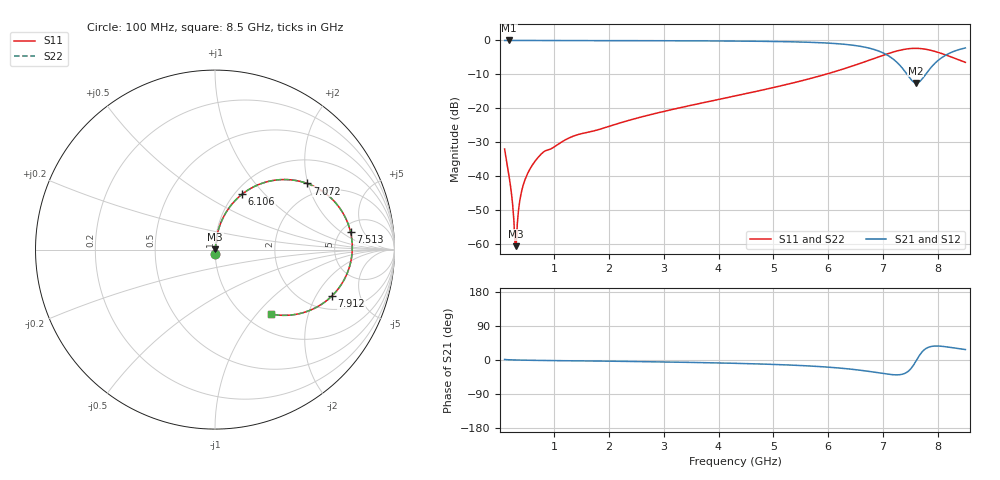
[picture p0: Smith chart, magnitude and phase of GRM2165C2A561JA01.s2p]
!Murata Part Number: GRM2165C2A561JA01
!These Parameters are Measured in Series Mode Connection
!Data Generated on Mar 30, 2021
!  o--ll--o
!Port1  Port2
!  o------o
!Operation Temp=25[degC], DC Bias Voltage=0[V]
!Freq. Start=100[MHz] Stop=9[GHz] 401[Steps]
# Hz S RI R 50
!Freq.(Hz) S11(Real) S11(Imag) S21(Real) S21(Imag) S12(Real) S12(Imag) S22(Real) S22(Imag)
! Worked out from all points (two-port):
!   401 points, 100 MHz to 8.5 GHz, reference 50 ohm
!   highest |S21| = -0.01 dB at 184 MHz (marker M1); lowest = -12.6 dB at 7.597 GHz (marker M2)
!   |S21| within 3 dB of the highest: start of sweep to 6.898 GHz; 8.325 GHz to end of sweep
!   lowest |S11| = -60.6 dB at 310 MHz (marker M3), VSWR 1.00, Z = 50.1 + j0.0566 ohm
!   |S11| at or under -10 dB: start of sweep to 5.948 GHz
!   |S22| runs from -60.6 to -2.3 dB; largest |S21 - S12| = 0
!   S11 on the Smith chart (normalised r, x): 100 MHz: 1.00, -0.05; 6.106 GHz: 1.08, +0.76; 7.072 GHz: 1.61, +1.98; 7.513 GHz: 6.05, +2.81; 7.912 GHz: 2.71, -2.75; 8.5 GHz: 1.29, -1.19
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1e8  0.0011 -0.0252  0.9989 0.0252  0.9989 0.0252  0.0011 -0.0252
1.84e8  0.000672 -0.0096  0.9993 0.0096  0.9993 0.0096  0.000672 -0.0096
2.26e8  0.000663 -0.00544  0.9993 0.00544  0.9993 0.00544  0.000663 -0.00544
2.68e8  0.00069 -0.00217  0.9993 0.00217  0.9993 0.00217  0.00069 -0.00217
3.1e8  0.00074 0.000566  0.9993 -0.000566  0.9993 -0.000566  0.00074 0.000566
3.31e8  0.000771 0.0018  0.9992 -0.0018  0.9992 -0.0018  0.000771 0.0018
3.94e8  0.000888 0.00515  0.9991 -0.00515  0.9991 -0.00515  0.000888 0.00515
4.36e8  0.000986 0.00717  0.999 -0.00717  0.999 -0.00717  0.000986 0.00717
6.25e8  0.0017 0.0153  0.9983 -0.0153  0.9983 -0.0153  0.0017 0.0153
8.35e8  0.00443 0.023  0.9956 -0.023  0.9956 -0.023  0.00443 0.023
1.507e9  0.00924 0.0414  0.9908 -0.0414  0.9908 -0.0414  0.00924 0.0414
2.914e9  0.0129 0.0856  0.9871 -0.0856  0.9871 -0.0856  0.0129 0.0856
4.3e9  0.0322 0.1486  0.9678 -0.1486  0.9678 -0.1486  0.0322 0.1486
5.707e9  0.1007 0.2606  0.8993 -0.2606  0.8993 -0.2606  0.1007 0.2606
6.106e9  0.1521 0.3093  0.8479 -0.3093  0.8479 -0.3093  0.1521 0.3093
6.631e9  0.2869 0.3771  0.7131 -0.3771  0.7131 -0.3771  0.2869 0.3771
7.072e9  0.5134 0.3685  0.4866 -0.3685  0.4866 -0.3685  0.5134 0.3685
7.114e9  0.5407 0.3576  0.4593 -0.3576  0.4593 -0.3576  0.5407 0.3576
7.513e9  0.7552 0.0975  0.2448 -0.0975  0.2448 -0.0975  0.7552 0.0975
7.597e9  0.765 0.0137  0.235 -0.0137  0.235 -0.0137  0.765 0.0137
7.912e9  0.6519 -0.2578  0.3481 0.2578  0.3481 0.2578  0.6519 -0.2578
8.5e9  0.3122 -0.3588  0.6878 0.3588  0.6878 0.3588  0.3122 -0.3588
